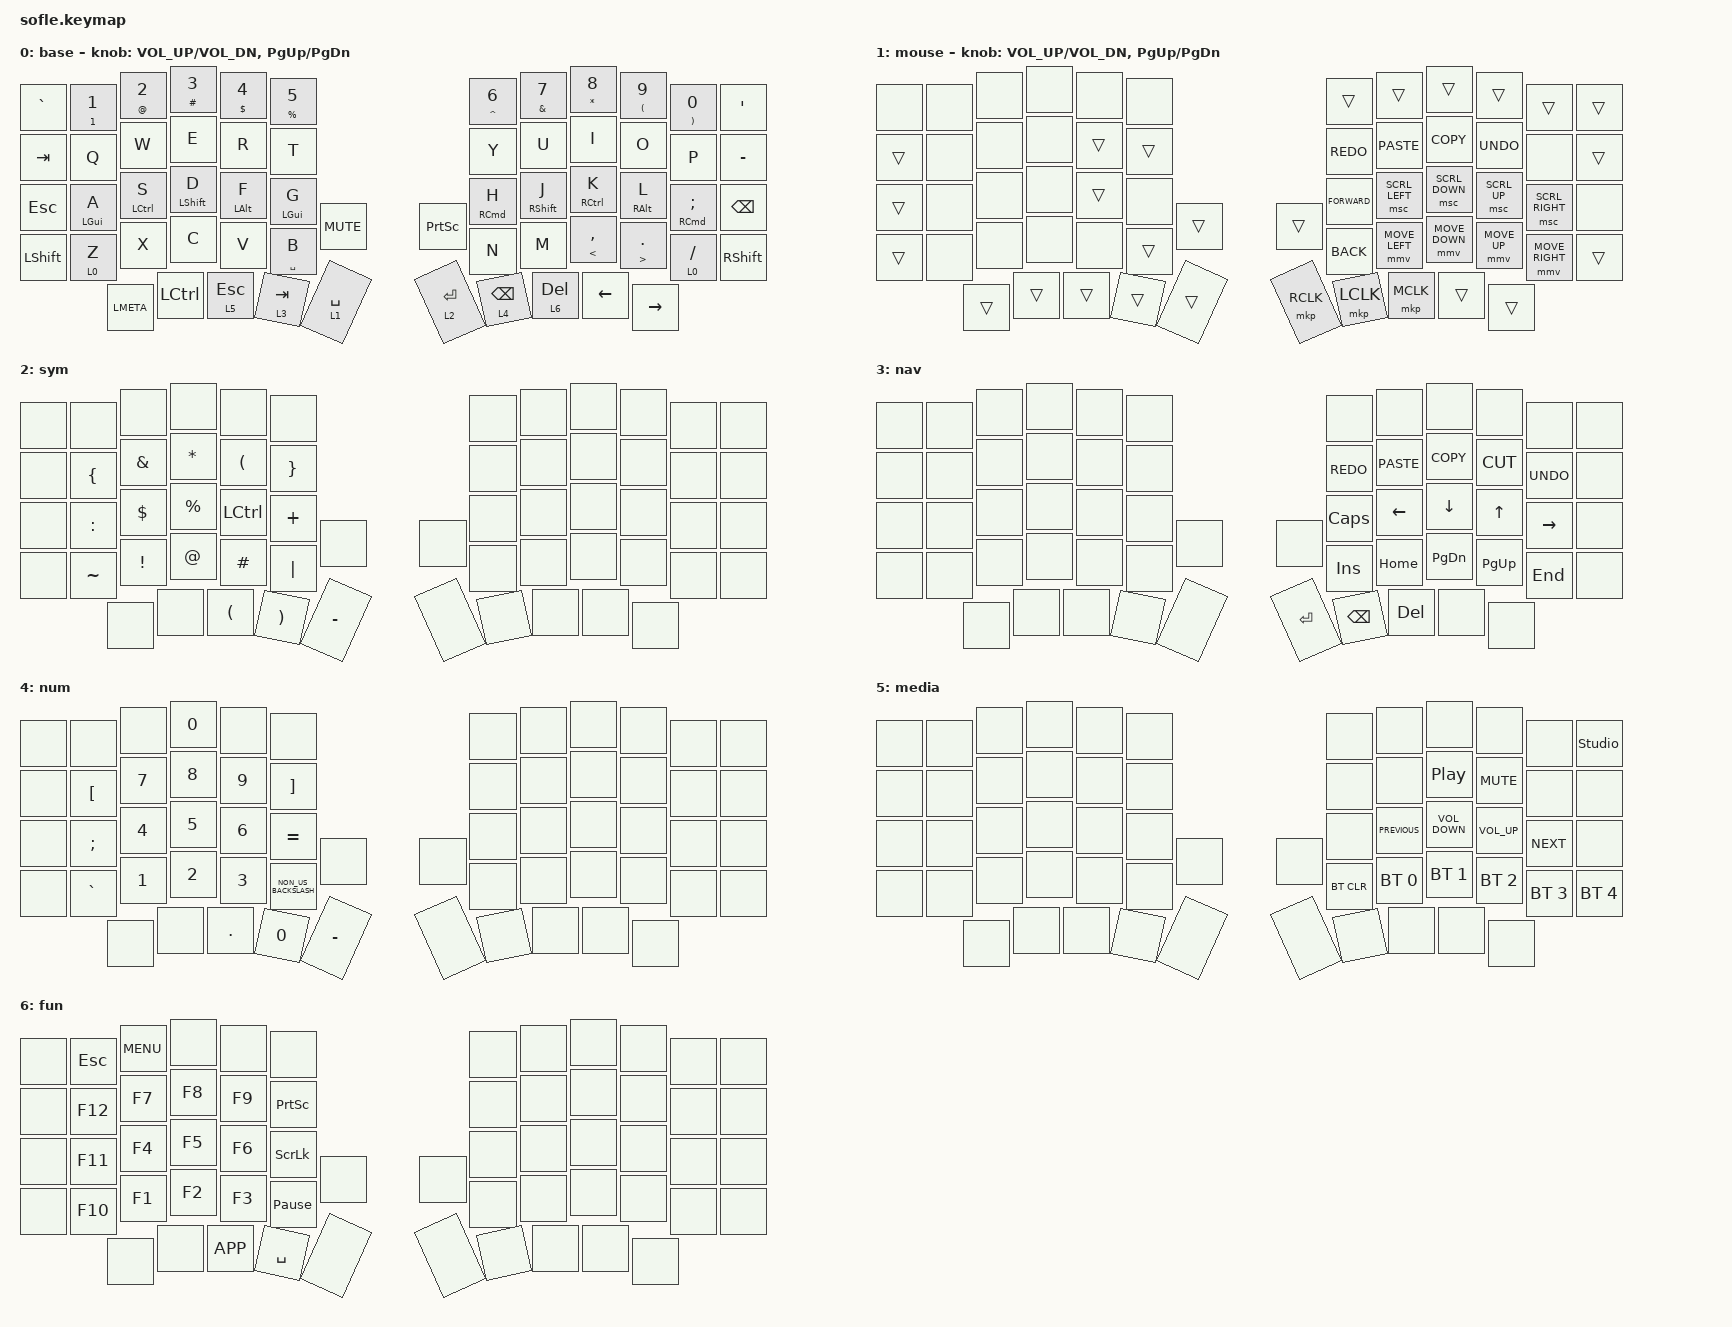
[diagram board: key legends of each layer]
/*
 * Copyright (c) 2020 The ZMK Contributors
 *
 * SPDX-License-Identifier: MIT
 */

#include <physical_layouts.dtsi>
#include <behaviors.dtsi>
#include <dt-bindings/zmk/bt.h>
#include <dt-bindings/zmk/keys.h>
#include <dt-bindings/zmk/pointing.h>

#define BASE 0
#define LOWER 1
#define RAISE 2
#define ADJUST 3

/ {
    sofle_physical_layout: sofle_physical_layout {
        compatible = "zmk,physical-layout";
        display-name = "Sofle";
        transform = <&default_transform>;
        keys =
            //                     w   h    x    y     rot    rx    ry,
            <&key_physical_attrs 100 100    0   37       0     0     0>,
            <&key_physical_attrs 100 100  100   37       0     0     0>,
            <&key_physical_attrs 100 100  200   12       0     0     0>,
            <&key_physical_attrs 100 100  300    0       0     0     0>,
            <&key_physical_attrs 100 100  400   12       0     0     0>,
            <&key_physical_attrs 100 100  500   24       0     0     0>,
            <&key_physical_attrs 100 100  900   24       0     0     0>,
            <&key_physical_attrs 100 100 1000   12       0     0     0>,
            <&key_physical_attrs 100 100 1100    0       0     0     0>,
            <&key_physical_attrs 100 100 1200   12       0     0     0>,
            <&key_physical_attrs 100 100 1300   37       0     0     0>,
            <&key_physical_attrs 100 100 1400   37       0     0     0>,
            <&key_physical_attrs 100 100    0  137       0     0     0>,
            <&key_physical_attrs 100 100  100  137       0     0     0>,
            <&key_physical_attrs 100 100  200  112       0     0     0>,
            <&key_physical_attrs 100 100  300  100       0     0     0>,
            <&key_physical_attrs 100 100  400  112       0     0     0>,
            <&key_physical_attrs 100 100  500  124       0     0     0>,
            <&key_physical_attrs 100 100  900  124       0     0     0>,
            <&key_physical_attrs 100 100 1000  112       0     0     0>,
            <&key_physical_attrs 100 100 1100  100       0     0     0>,
            <&key_physical_attrs 100 100 1200  112       0     0     0>,
            <&key_physical_attrs 100 100 1300  137       0     0     0>,
            <&key_physical_attrs 100 100 1400  137       0     0     0>,
            <&key_physical_attrs 100 100    0  237       0     0     0>,
            <&key_physical_attrs 100 100  100  237       0     0     0>,
            <&key_physical_attrs 100 100  200  212       0     0     0>,
            <&key_physical_attrs 100 100  300  200       0     0     0>,
            <&key_physical_attrs 100 100  400  212       0     0     0>,
            <&key_physical_attrs 100 100  500  224       0     0     0>,
            <&key_physical_attrs 100 100  900  224       0     0     0>,
            <&key_physical_attrs 100 100 1000  212       0     0     0>,
            <&key_physical_attrs 100 100 1100  200       0     0     0>,
            <&key_physical_attrs 100 100 1200  212       0     0     0>,
            <&key_physical_attrs 100 100 1300  237       0     0     0>,
            <&key_physical_attrs 100 100 1400  237       0     0     0>,
            <&key_physical_attrs 100 100    0  337       0     0     0>,
            <&key_physical_attrs 100 100  100  337       0     0     0>,
            <&key_physical_attrs 100 100  200  312       0     0     0>,
            <&key_physical_attrs 100 100  300  300       0     0     0>,
            <&key_physical_attrs 100 100  400  312       0     0     0>,
            <&key_physical_attrs 100 100  500  324       0     0     0>,
            <&key_physical_attrs 100 100  600  274       0     0     0>,
            <&key_physical_attrs 100 100  800  274       0     0     0>,
            <&key_physical_attrs 100 100  900  324       0     0     0>,
            <&key_physical_attrs 100 100 1000  312       0     0     0>,
            <&key_physical_attrs 100 100 1100  300       0     0     0>,
            <&key_physical_attrs 100 100 1200  312       0     0     0>,
            <&key_physical_attrs 100 100 1300  337       0     0     0>,
            <&key_physical_attrs 100 100 1400  337       0     0     0>,
            <&key_physical_attrs 100 100  175  437       0     0     0>,
            <&key_physical_attrs 100 100  275  412       0     0     0>,
            <&key_physical_attrs 100 100  375  412       0     0     0>,
            <&key_physical_attrs 100 100  490  412    1200   490   412>,
            <&key_physical_attrs 100 150  600  383    2400   600   433>,
            <&key_physical_attrs 100 150  800  383  (-2400)  900   433>,
            <&key_physical_attrs 100 100  910  412  (-1200) 1010   412>,
            <&key_physical_attrs 100 100 1025  412       0     0     0>,
            <&key_physical_attrs 100 100 1125  412       0     0     0>,
            <&key_physical_attrs 100 100 1225  437       0     0     0>;
    };

    combos {
        compatible = "zmk,combos";
        combo_studio_unlock {
            timeout-ms = <50>;
            key-positions = <42 43>;
            bindings = <&studio_unlock>;
        };
    };

    // Activate ADJUST layer by pressing raise and lower

    conditional_layers { compatible = "zmk,conditional-layers"; };

    keymap {
        compatible = "zmk,keymap";

        base {
            display-name = "base";

            // ------------------------------------------------------------------------------------------------------------
            // |   `   |  1  |  2  |  3   |  4   |  5   |                   |  6   |  7    |  8    |  9   |   0   |       |
            // |  ESC  |  Q  |  W  |  E   |  R   |  T   |                   |  Y   |  U    |  I    |  O   |   P   | BKSPC |
            // |  TAB  |  A  |  S  |  D   |  F   |  G   |                   |  H   |  J    |  K    |  L   |   ;   |   '   |
            // | SHIFT |  Z  |  X  |  C   |  V   |  B   |  MUTE  |  |       |  N   |  M    |  ,    |  .   |   /   | SHIFT |
            //               | GUI | ALT  | CTRL | LOWER|  ENTER |  | SPACE | RAISE| CTRL  | ALT   | GUI  |

            bindings = <
&kp GRAVE        &mt N1 NUMBER_1  &mt AT_SIGN NUMBER_2  &mt HASH NUMBER_3  &mt DOLLAR NUMBER_4  &mt PERCENT N5                                  &mt CARET NUMBER_6   &mt AMPERSAND N7   &mt ASTERISK N8      &mt LEFT_PARENTHESIS N9  &mt RIGHT_PARENTHESIS N0     &kp SQT
&kp TAB          &kp Q            &kp W                 &kp E              &kp R                &kp T                                           &kp Y                &kp U              &kp I                &kp O                    &kp P                        &kp MINUS
&kp ESC          &mt LGUI A       &mt LEFT_CONTROL S    &mt LSHIFT D       &mt LEFT_ALT F       &mt LEFT_GUI G                                  &mt RIGHT_COMMAND H  &mt RIGHT_SHIFT J  &mt RIGHT_CONTROL K  &mt RALT L               &mt RIGHT_COMMAND SEMICOLON  &kp BACKSPACE
&kp LEFT_SHIFT   &lt 0 Z          &kp X                 &kp C              &kp V                &mt SPACE B     &kp C_MUTE     &kp PRINTSCREEN  &kp N                &kp M              &mt LESS_THAN COMMA  &mt GREATER_THAN PERIOD  &lt 0 SLASH                  &kp RSHFT
                                  &kp LMETA             &kp LEFT_CONTROL   &lt 5 ESCAPE         &lt 3 TAB       &lt 1 SPACE    &lt 2 ENTER      &lt 4 BACKSPACE      &lt 6 DEL          &kp LEFT_ARROW       &kp RIGHT_ARROW
            >;

            sensor-bindings = <&inc_dec_kp C_VOL_UP C_VOL_DN &inc_dec_kp PG_UP PG_DN>;
        };

        mouse {
            display-name = "mouse";

            // ------------------------------------------------------------------------------------------------------------
            // | BTCLR | BT1  | BT2  |  BT3  |  BT4  |  BT5 |                |      |      |       |      |       |       |
            // |       | INS  | PSCR | GUI   |       |      |                | PGUP |      |   ^   |      |       |       |
            // |       | ALT  | CTRL | SHIFT |       | CAPS |                | PGDN |   <- |   v   |  ->  |  DEL  | BKSPC |
            // |       | UNDO | CUT  | COPY  | PASTE |      |      |  |      |      |      |       |      |       |       |
            //                |      |       |       |      |      |  |      |      |      |       |      |

            bindings = <
&none   &none  &none   &none   &none   &none                        &trans         &trans          &trans          &trans        &trans           &trans
&trans  &none  &none   &none   &trans  &trans                       &kp K_REDO     &kp K_PASTE     &kp K_COPY      &kp K_UNDO    &none            &trans
&trans  &none  &none   &none   &trans  &none                        &kp K_FORWARD  &msc SCRL_LEFT  &msc SCRL_DOWN  &msc SCRL_UP  &msc SCRL_RIGHT  &none
&trans  &none  &none   &none   &none   &trans  &trans    &trans     &kp K_BACK     &mmv MOVE_LEFT  &mmv MOVE_DOWN  &mmv MOVE_UP  &mmv MOVE_RIGHT  &trans
               &trans  &trans  &trans  &trans  &trans    &mkp RCLK  &mkp LCLK      &mkp MCLK       &trans          &trans
            >;

            sensor-bindings = <&inc_dec_kp C_VOL_UP C_VOL_DN &inc_dec_kp PG_UP PG_DN>;
        };

        sym {
            // ----------------------------------------------------------------------------------------------------------------------------
            // | BTCLR  |  BT1    |  BT2    |   BT3   |   BT4   |   BT5   |                  |      |      |       |      |       |       |
            // | EXTPWR | RGB_HUD | RGB_HUI | RGB_SAD | RGB_SAI | RGB_EFF |                  |      |      |       |      |       |       |
            // |        | RGB_BRD | RGB_BRI |         |         |         |                  |      |      |       |      |       |       |
            // |        |         |         |         |         |         | RGB_TOG | |      |      |      |       |      |       |       |
            //                    |         |         |         |         |         | |      |      |      |       |      |

            display-name = "sym";
            bindings = <
&none  &none           &none            &none         &none                 &none                                      &none  &none  &none  &none  &none  &none
&none  &kp LEFT_BRACE  &kp AMPERSAND    &kp ASTERISK  &kp LEFT_PARENTHESIS  &kp RIGHT_BRACE                            &none  &none  &none  &none  &none  &none
&none  &kp COLON       &kp DOLLAR       &kp PERCENT   &kp LCTRL             &kp PLUS                                   &none  &none  &none  &none  &none  &none
&none  &kp TILDE       &kp EXCLAMATION  &kp AT_SIGN   &kp HASH              &kp PIPE               &none        &none  &none  &none  &none  &none  &none  &none
                       &none            &none         &kp LEFT_PARENTHESIS  &kp RIGHT_PARENTHESIS  &kp MINUS    &none  &none  &none  &none  &none
            >;
        };

        nav {
            display-name = "nav";
            bindings = <
&none  &none  &none  &none  &none  &none                      &none          &none           &none           &none         &none            &none
&none  &none  &none  &none  &none  &none                      &kp K_REDO     &kp K_PASTE     &kp K_COPY      &kp K_CUT     &kp K_UNDO       &none
&none  &none  &none  &none  &none  &none                      &kp CAPSLOCK   &kp LEFT_ARROW  &kp DOWN_ARROW  &kp UP_ARROW  &kp RIGHT_ARROW  &none
&none  &none  &none  &none  &none  &none  &none    &none      &kp INSERT     &kp HOME        &kp PAGE_DOWN   &kp PAGE_UP   &kp END          &none
              &none  &none  &none  &none  &none    &kp ENTER  &kp BACKSPACE  &kp DELETE      &none           &none
            >;
        };

        num {
            display-name = "num";
            bindings = <
&none  &none             &none         &kp NUMBER_0  &none         &none                                     &none  &none  &none  &none  &none  &none
&none  &kp LEFT_BRACKET  &kp NUMBER_7  &kp NUMBER_8  &kp N9        &kp RIGHT_BRACKET                         &none  &none  &none  &none  &none  &none
&none  &kp SEMICOLON     &kp NUMBER_4  &kp NUMBER_5  &kp NUMBER_6  &kp EQUAL                                 &none  &none  &none  &none  &none  &none
&none  &kp GRAVE         &kp NUMBER_1  &kp NUMBER_2  &kp NUMBER_3  &kp NON_US_BACKSLASH  &none        &none  &none  &none  &none  &none  &none  &none
                         &none         &none         &kp PERIOD    &kp NUMBER_0          &kp MINUS    &none  &none  &none  &none  &none
            >;
        };

        media {
            display-name = "media";
            bindings = <
&none  &none  &none  &none  &none  &none                  &none       &none           &none              &none            &none         &studio_unlock
&none  &none  &none  &none  &none  &none                  &none       &none           &kp C_PLAY_PAUSE   &kp C_MUTE       &none         &none
&none  &none  &none  &none  &none  &none                  &none       &kp C_PREVIOUS  &kp C_VOLUME_DOWN  &kp C_VOLUME_UP  &kp C_NEXT    &none
&none  &none  &none  &none  &none  &none  &none    &none  &bt BT_CLR  &bt BT_SEL 0    &bt BT_SEL 1       &bt BT_SEL 2     &bt BT_SEL 3  &bt BT_SEL 4
              &none  &none  &none  &none  &none    &none  &none       &none           &none              &none
            >;
        };

        fun {
            display-name = "fun";
            bindings = <
&none  &kp ESCAPE  &kp K_MENU  &none   &none      &none                            &none  &none  &none  &none  &none  &none
&none  &kp F12     &kp F7      &kp F8  &kp F9     &kp PRINTSCREEN                  &none  &none  &none  &none  &none  &none
&none  &kp F11     &kp F4      &kp F5  &kp F6     &kp SCROLLLOCK                   &none  &none  &none  &none  &none  &none
&none  &kp F10     &kp F1      &kp F2  &kp F3     &kp PAUSE_BREAK  &none    &none  &none  &none  &none  &none  &none  &none
                   &none       &none   &kp K_APP  &kp SPACE        &none    &none  &none  &none  &none  &none
            >;
        };
    };
};
